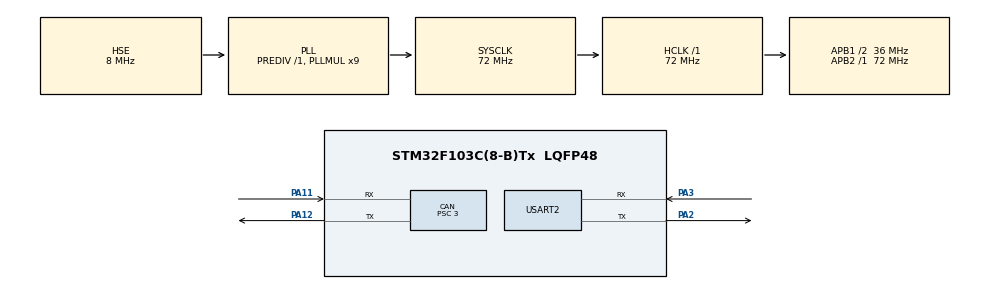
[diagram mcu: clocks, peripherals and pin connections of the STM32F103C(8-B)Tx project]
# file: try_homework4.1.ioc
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CAN.BS1=CAN_BS1_8TQ
CAN.BS2=CAN_BS2_3TQ
CAN.CalculateBaudRate=999999
CAN.CalculateTimeBit=1000
CAN.CalculateTimeQuantum=83.33333333333334
CAN.Mode=CAN_MODE_LOOPBACK
CAN.NART=ENABLE
CAN.Prescaler=3
Mcu.Family=STM32F1
Mcu.Name=STM32F103C(8-B)Tx
Mcu.Package=LQFP48
NVIC.CAN1_RX1_IRQn=true\:0\:0\:false\:false\:true\:true\:true\:true
NVIC.PriorityGroup=NVIC_PRIORITYGROUP_4
NVIC.USB_HP_CAN1_TX_IRQn=true\:0\:0\:false\:false\:true\:true\:true\:true
NVIC.USB_LP_CAN1_RX0_IRQn=true\:0\:0\:false\:false\:true\:true\:true\:true
PA11.Mode=CAN_Activate
PA11.Signal=CAN_RX
PA12.Mode=CAN_Activate
PA12.Signal=CAN_TX
PA13.Mode=Serial_Wire
PA13.Signal=SYS_JTMS-SWDIO
PA14.Mode=Serial_Wire
PA14.Signal=SYS_JTCK-SWCLK
PA2.Mode=Asynchronous
PA2.Signal=USART2_TX
PA3.Mode=Asynchronous
PA3.Signal=USART2_RX
PD0-OSC_IN.Mode=HSE-External-Oscillator
PD0-OSC_IN.Signal=RCC_OSC_IN
PD1-OSC_OUT.Mode=HSE-External-Oscillator
PD1-OSC_OUT.Signal=RCC_OSC_OUT
ProjectManager.HeapSize=0x200
ProjectManager.StackSize=0x400
ProjectManager.TargetToolchain=MDK-ARM V5.32
RCC.AHBFreq_Value=72000000
RCC.APB1CLKDivider=RCC_HCLK_DIV2
RCC.APB1Freq_Value=36000000
RCC.APB1TimFreq_Value=72000000
RCC.APB2Freq_Value=72000000
RCC.APB2TimFreq_Value=72000000
RCC.HCLKFreq_Value=72000000
RCC.PLLMUL=RCC_PLL_MUL9
RCC.PLLSourceVirtual=RCC_PLLSOURCE_HSE
RCC.SYSCLKFreq_VALUE=72000000
RCC.SYSCLKSource=RCC_SYSCLKSOURCE_PLLCLK
RCC.USBFreq_Value=72000000
USART2.VirtualMode=VM_ASYNC
board=custom

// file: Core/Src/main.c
/* USER CODE BEGIN Header */
/**
  ******************************************************************************
  * @file           : main.c
  * @brief          : Main program body
  ******************************************************************************
  * @attention
  *
  * Copyright (c) 2025 STMicroelectronics.
  * All rights reserved.
  *
  * This software is licensed under terms that can be found in the LICENSE file
  * in the root directory of this software component.
  * If no LICENSE file comes with this software, it is provided AS-IS.
  *
  ******************************************************************************
  */
/* USER CODE END Header */
#include "main.h"
#include "can.h"
#include "usart.h"
#include "gpio.h"

/* USER CODE BEGIN Includes */
#include <string.h>
/* USER CODE END Includes */

/* USER CODE BEGIN PV */
CAN_TxHeaderTypeDef TxHeader;
CAN_RxHeaderTypeDef RxHeader;
uint8_t TxData[8] = {0};
uint8_t RxData[8];
uint32_t TxMailBox;
uint8_t uartTxData[2];
/* USER CODE END PV */

void SystemClock_Config(void);
/* USER CODE BEGIN PFP */
void CAN_SendData(void);
void HAL_CAN_RxFifo0MsgPendingCallback(CAN_HandleTypeDef *hcan);
void HAL_CAN_TxMailbox0CompleteCallback(CAN_HandleTypeDef *hcan);
void CAN_Filter_Init(void);
/* USER CODE END PFP */

int main(void)
{

  /* MCU Configuration--------------------------------------------------------*/

  /* Reset of all peripherals, Initializes the Flash interface and the Systick. */
  HAL_Init();

  /* Configure the system clock */
  SystemClock_Config();

  /* Initialize all configured peripherals */
  MX_GPIO_Init();
  MX_CAN_Init();
  MX_USART2_UART_Init();
  /* USER CODE BEGIN 2 */
	CAN_Filter_Init();
  /* USER CODE END 2 */

  /* Infinite loop */
  /* USER CODE BEGIN WHILE */
  while (1)
  {
		CAN_SendData();
		HAL_Delay(1000);
    /* USER CODE END WHILE */

  }
}

void SystemClock_Config(void)
{
  RCC_OscInitTypeDef RCC_OscInitStruct = {0};
  RCC_ClkInitTypeDef RCC_ClkInitStruct = {0};

  /** Initializes the RCC Oscillators according to the specified parameters
  * in the RCC_OscInitTypeDef structure.
  */
  RCC_OscInitStruct.OscillatorType = RCC_OSCILLATORTYPE_HSE;
  RCC_OscInitStruct.HSEState = RCC_HSE_ON;
  RCC_OscInitStruct.HSEPredivValue = RCC_HSE_PREDIV_DIV1;
  RCC_OscInitStruct.HSIState = RCC_HSI_ON;
  RCC_OscInitStruct.PLL.PLLState = RCC_PLL_ON;
  RCC_OscInitStruct.PLL.PLLSource = RCC_PLLSOURCE_HSE;
  RCC_OscInitStruct.PLL.PLLMUL = RCC_PLL_MUL9;
  if (HAL_RCC_OscConfig(&RCC_OscInitStruct) != HAL_OK)
  {
    Error_Handler();
  }

  /** Initializes the CPU, AHB and APB buses clocks
  */
  RCC_ClkInitStruct.ClockType = RCC_CLOCKTYPE_HCLK|RCC_CLOCKTYPE_SYSCLK
                              |RCC_CLOCKTYPE_PCLK1|RCC_CLOCKTYPE_PCLK2;
  RCC_ClkInitStruct.SYSCLKSource = RCC_SYSCLKSOURCE_PLLCLK;
  RCC_ClkInitStruct.AHBCLKDivider = RCC_SYSCLK_DIV1;
  RCC_ClkInitStruct.APB1CLKDivider = RCC_HCLK_DIV2;
  RCC_ClkInitStruct.APB2CLKDivider = RCC_HCLK_DIV1;

  if (HAL_RCC_ClockConfig(&RCC_ClkInitStruct, FLASH_LATENCY_2) != HAL_OK)
  {
    Error_Handler();
  }
}

/* USER CODE BEGIN 4 */
void CAN_SendData(void){
	TxHeader.StdId = 0x103;
	TxHeader.DLC = 2;
	TxHeader.ExtId = 0;
	TxHeader.IDE = CAN_ID_STD;
	TxHeader.RTR = CAN_RTR_DATA;
	TxData[0] = (uint8_t)0x103;
	TxData[1] = 0;
	if(HAL_CAN_AddTxMessage(&hcan,&TxHeader,TxData,&TxMailBox) == HAL_OK){};
}
void HAL_CAN_RxFifo0MsgPendingCallback(CAN_HandleTypeDef *hcan){
  HAL_CAN_GetRxMessage(hcan, CAN_RX_FIFO0, &RxHeader, RxData);
}
void HAL_CAN_TxMailbox0CompleteCallback(CAN_HandleTypeDef *hcan)
{
    uartTxData[0] = 0x01;
    HAL_UART_Transmit(&huart2, uartTxData, 1, 100);
}
void CAN_Filter_Init(void) {
    CAN_FilterTypeDef sFilterConfig;
    sFilterConfig.FilterBank = 0;
    sFilterConfig.FilterFIFOAssignment = CAN_FILTER_FIFO0 ;
    sFilterConfig.FilterIdHigh = (0x103 << 5) & 0xffff;
    sFilterConfig.FilterIdLow = 0x0000;
    sFilterConfig.FilterMaskIdHigh = 0xffff;
    sFilterConfig.FilterMaskIdLow = 0x0000;
    sFilterConfig.FilterMode = CAN_FILTERMODE_IDMASK;
    sFilterConfig.FilterScale = CAN_FILTERSCALE_32BIT;
    sFilterConfig.SlaveStartFilterBank = 14;
	  sFilterConfig.FilterActivation = ENABLE;
    HAL_CAN_ConfigFilter(&hcan, &sFilterConfig);
	  uint32_t can_it = CAN_IT_RX_FIFO0_MSG_PENDING | CAN_IT_TX_MAILBOX_EMPTY;
    HAL_CAN_ActivateNotification(&hcan, can_it);
    HAL_CAN_Start(&hcan);
		HAL_CAN_GetState(&hcan);
		HAL_Delay(10);
}
/* USER CODE END 4 */

void Error_Handler(void)
{
  __disable_irq();
  while (1)
  {
  }
}
